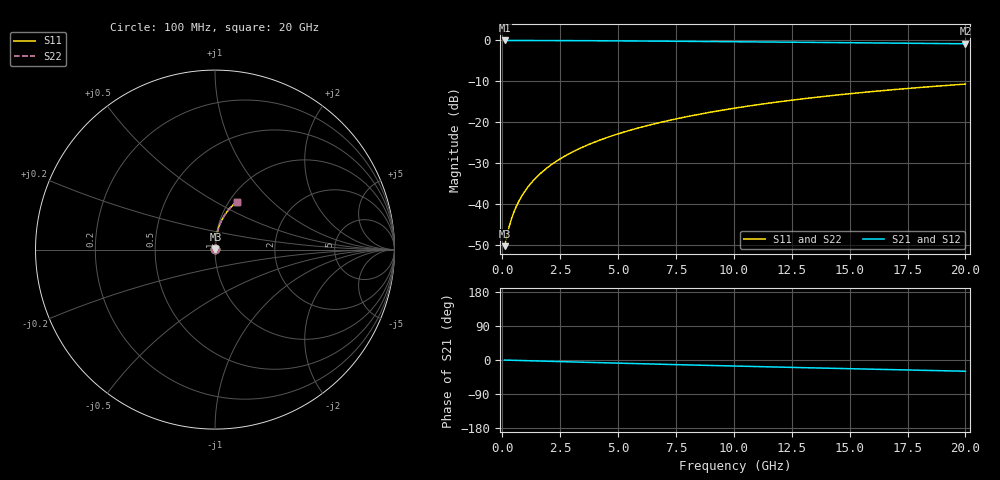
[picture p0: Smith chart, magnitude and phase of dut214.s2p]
! Touchstone file exported from HFSS 2024.1.0
!  File:  C:/UserFiles/LocalFiles/RDL_TSV_Batchsim/temp_RDL_bottom_214_1778700165.aedt
!  Generated:  03:24:52 AM May 14, 2026
!  Design:  RDL_bottom
!  Project:  temp_RDL_bottom_214_1778700165
!  Setup:  Setup1
!  Solution:  Sweep
! Variables:
!  dtsv = 10.80580581um
!  hbump = 3um
!  htsv = 77.58um
!  ldown = 416.45um
!  lrdl = 100um
!  p = 40
!  p1 = 40.8um
!  rhole = 1um
!  t = 450um
!  tdown = 3.35um
!  trdl = 3.915915916um
!  wdown = 17.92um
!  wrdl = 20um
# GHz S MA R 50.000000
! Terminal data exported
! Port[1] = RDL1_T1
! Port[2] = RDL1_T2
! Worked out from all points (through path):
!   200 points, 100 MHz to 20 GHz, reference 50 ohm
!   highest |S21| = -0.02 dB at 100 MHz (marker M1); lowest = -0.8 dB at 20 GHz (marker M2)
!   group delay of S21, straight-line fit = 4.09 ps
!   lowest |S11| = -50.3 dB at 100 MHz (marker M3), VSWR 1.01, Z = 50.3 + j0.157 ohm
!   |S11| at or under -10 dB: start of sweep to end of sweep
!   |S22| runs from -50.3 to -10.7 dB; largest |S21 - S12| = 2.7e-15
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0.1  0.003066 30.5  0.9974 -0.2  0.9974 -0.2  0.003066 30.5
! Gamma 0 0 0 0
! Port Impedance 50 0 50 0
0.2  0.004115 48.4  0.9973 -0.4  0.9973 -0.4  0.004115 48.4
0.3  0.005362 58.0  0.9971 -0.5  0.9971 -0.5  0.005362 58.0
0.4  0.006664 63.7  0.997 -0.7  0.997 -0.7  0.006664 63.7
0.5  0.007984 67.6  0.9969 -0.9  0.9969 -0.9  0.007984 67.6
0.6  0.009313 70.4  0.9967 -1.0  0.9967 -1.0  0.009313 70.4
0.8  0.012 74.3  0.9965 -1.4  0.9965 -1.4  0.012 74.3
1.1  0.01609 77.8  0.9962 -1.9  0.9962 -1.9  0.01609 77.8
1.3  0.01884 79.3  0.9959 -2.2  0.9959 -2.2  0.01884 79.2
1.6  0.02302 80.8  0.9955 -2.7  0.9955 -2.7  0.02302 80.8
2.1  0.03005 82.3  0.9946 -3.6  0.9946 -3.6  0.03004 82.3
2.7  0.03858 83.3  0.9933 -4.6  0.9933 -4.6  0.03857 83.2
3.5  0.0501 83.8  0.9911 -5.9  0.9911 -5.9  0.05009 83.7
4.2  0.06031 83.8  0.9888 -7.0  0.9888 -7.0  0.06029 83.7
5  0.07212 83.5  0.9859 -8.3  0.9859 -8.3  0.07209 83.5
5.9  0.08557 83.0  0.9822 -9.7  0.9822 -9.7  0.08553 82.9
6.8  0.09917 82.3  0.9782 -11.1  0.9782 -11.1  0.0991 82.2
8.4  0.1236 80.7  0.9707 -13.6  0.9707 -13.6  0.1235 80.6
10.1  0.1496 78.7  0.9622 -16.1  0.9622 -16.1  0.1494 78.7
13.4  0.1995 74.5  0.9449 -20.8  0.9449 -20.8  0.1992 74.4
16.7  0.2474 70.0  0.9271 -25.3  0.9271 -25.3  0.247 69.9
20  0.2924 65.5  0.9087 -29.6  0.9087 -29.6  0.2919 65.4
